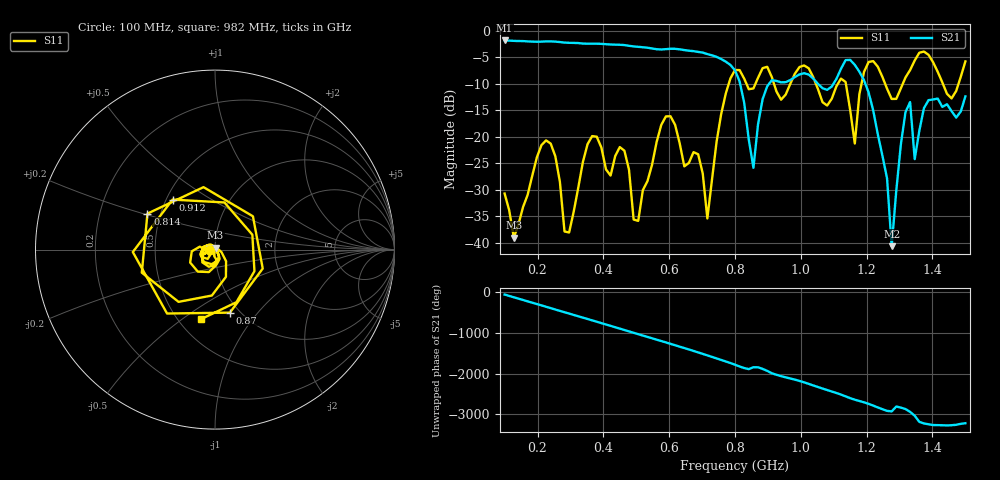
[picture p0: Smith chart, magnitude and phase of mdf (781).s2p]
! NanoVNA-App
! Date: 2025-09-25 15:44:30
! Start: 100MHz Stop: 1,5GHz Points: 101
! S-Parameter data: F S11 S21 S12 S22
# Hz S RI R 50
!  Frequency  S11_Real  S11_Imag  S21_Real  S21_Imag  S12_Real  S12_Imag  S22_Real  S22_Imag
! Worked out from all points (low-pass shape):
!   101 points, 100 MHz to 1.5 GHz, reference 50 ohm
!   highest |S21| = -1.80 dB at 100 MHz (marker M1); lowest = -40.7 dB at 1.276 GHz (marker M2)
!   |S21| within 3 dB of the highest: start of sweep to 739.3 MHz
!   lowest |S11| = -39.1 dB at 128 MHz (marker M3), VSWR 1.02, Z = 50.3 + j1.07 ohm
!   |S11| at or under -10 dB: start of sweep to 781 MHz; 1.046 GHz to 1.113 GHz (66.82 MHz wide, 6.19 % of centre); 1.256 GHz to 1.31 GHz (53.57 MHz wide, 4.18 % of centre)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
!   S12 and S22 are empty: the file has one direction only
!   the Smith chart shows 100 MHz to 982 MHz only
!   S11 on the Smith chart (normalised r, x): 100 MHz: 0.94, -0.01; 814 MHz: 0.42, +0.21; 870 MHz: 0.90, -0.73; 912 MHz: 0.54, +0.35; 982 MHz: 0.64, -0.59
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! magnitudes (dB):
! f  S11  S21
! 100 MHz  -30.7  -1.8
! 128 MHz  -39.1  -1.9
! 212 MHz  -21.6  -2.0
! 282 MHz  -37.9  -2.2
! 338 MHz  -24.7  -2.4
! 464 MHz  -22.6  -2.7
! 506 MHz  -35.9  -3.0
! 576 MHz  -17.8  -3.5
! 716 MHz  -35.4  -4.4
! 800 MHz  -7.4  -7.4
! 814 MHz  -7.4  -9.5
! 856 MHz  -10.9  -25.9
! 870 MHz  -8.9  -17.6
! 912 MHz  -8.7  -9.3
! 982 MHz  -8.1  -8.7
! 1.038 GHz  -8.8  -9.0
! 1.164 GHz  -21.3  -6.4
! 1.192 GHz  -7.7  -9.3
! 1.276 GHz  -12.9  -40.7
! 1.332 GHz  -7.4  -13.4
! 1.346 GHz  -5.6  -24.2
! 1.5 GHz  -5.8  -12.4
